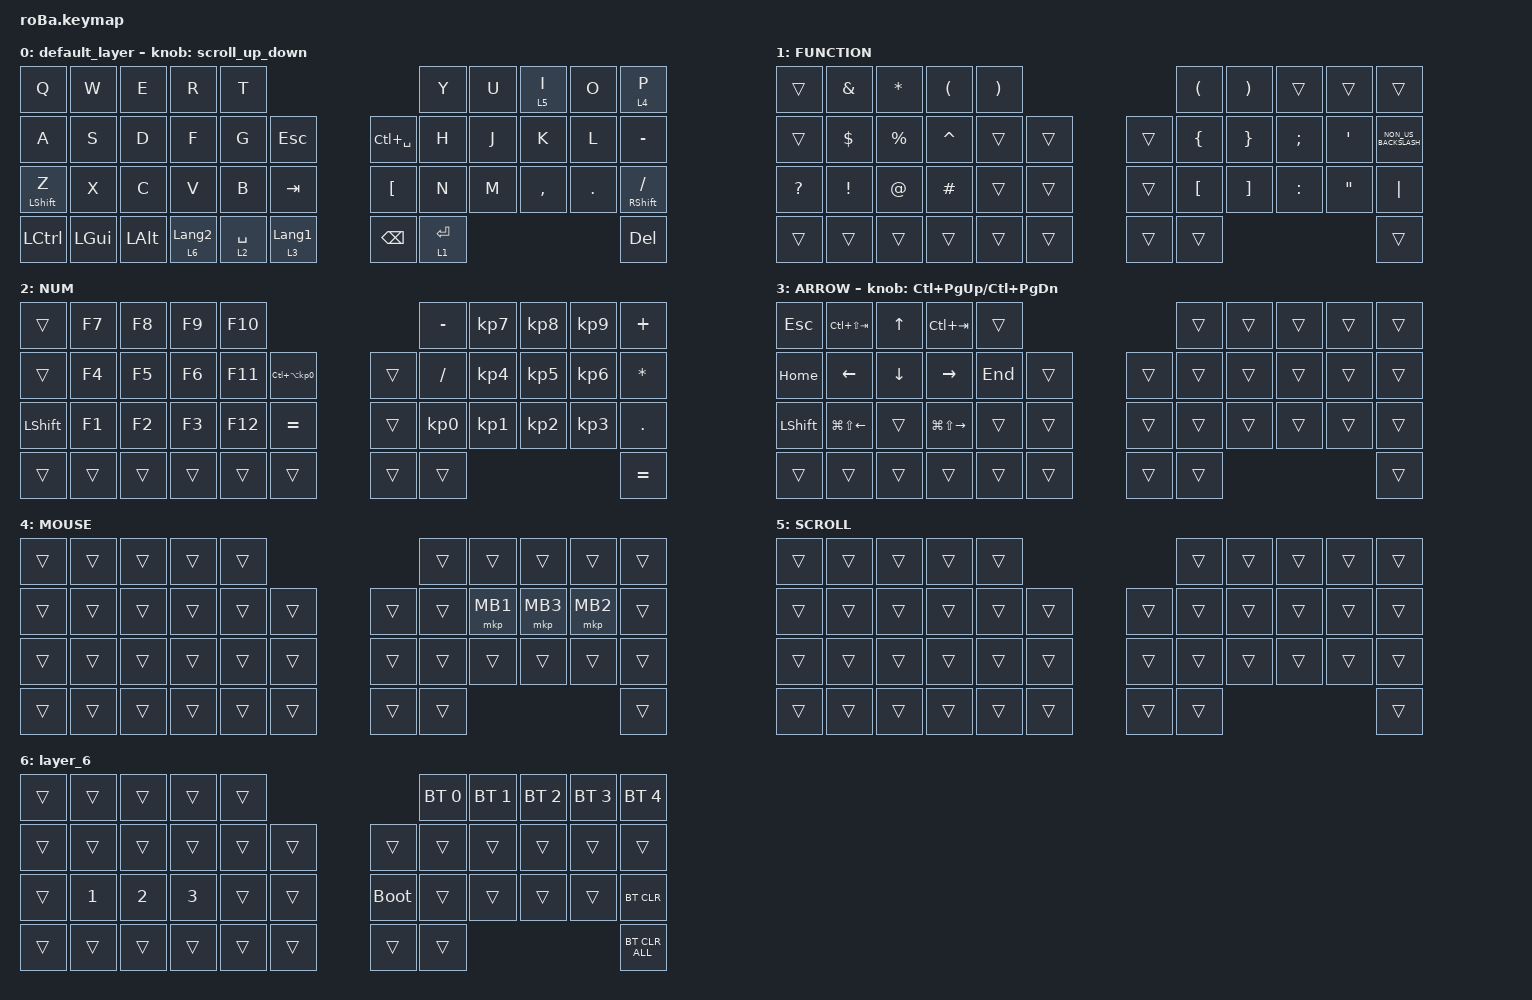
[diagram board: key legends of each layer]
#include <behaviors.dtsi>
#include <dt-bindings/zmk/bt.h>
#include <dt-bindings/zmk/keys.h>
#include <dt-bindings/zmk/pointing.h>

#define ZMK_POINTING_DEFAULT_SCRL_VAL 100
#define MOUSE 4
#define SCROLL 5
#define NUM 6

&mt {
    flavor = "balanced";
    quick-tap-ms = <0>;
};

&trackball {
    automouse-layer = <4>;
    scroll-layers = <5>;

    // arrows {
    //     layers = <3>;
    //     bindings =
    //         <&kp RIGHT_ARROW>,
    //         <&kp LEFT_ARROW>,
    //         <&kp UP_ARROW>,
    //         <&kp DOWN_ARROW>;
    //     tick = <10>;
    //     wait-ms = <5>;
    //     tap-ms = <5>;
    // };
};

/ {
    combos {
        compatible = "zmk,combos";

        tab {
            bindings = <&kp TAB>;
            key-positions = <11 12>;
        };

        shift_tab {
            bindings = <&kp LS(TAB)>;
            key-positions = <12 13>;
        };

        muhennkann {
            bindings = <&to_layer_0 INT_MUHENKAN>;
            key-positions = <11 10>;
        };

        double_quotation {
            bindings = <&kp DOUBLE_QUOTES>;
            key-positions = <20 21>;
        };

        eq {
            bindings = <&kp EQUAL>;
            key-positions = <24 25>;
        };
    };

    macros {
        to_layer_0: to_layer_0 {
            compatible = "zmk,behavior-macro-one-param";
            #binding-cells = <1>;
            bindings = <&to 0 &macro_param_1to1 &kp MACRO_PLACEHOLDER>;
            label = "TO_LAYER_0";
        };
    };

    behaviors {
        lt_to_layer_0: lt_to_layer_0 {
            compatible = "zmk,behavior-hold-tap";
            label = "LAYER_TAP_TO_0";
            bindings = <&mo>, <&to_layer_0>;

            #binding-cells = <2>;
            tapping-term-ms = <200>;
        };

        scroll_up_down: behavior_sensor_rotate_mouse_wheel_up_down {
            compatible = "zmk,behavior-sensor-rotate";
            #sensor-binding-cells = <0>;
            bindings = <&msc SCRL_DOWN>, <&msc SCRL_UP>;

            // 追加: スクロールのタップ時間を設定 (20ms)

            tap-ms = <20>;
        };
    };

    keymap {
        compatible = "zmk,keymap";

        default_layer {
            bindings = <
&kp Q             &kp W         &kp E         &kp R                        &kp T                                                           &kp Y        &kp U  &lt 5 I    &kp O    &lt 4 P
&kp A             &kp S         &kp D         &kp F                        &kp G        &kp ESCAPE                       &kp LC(SPACE)     &kp H        &kp J  &kp K      &kp L    &kp MINUS
&mt LEFT_SHIFT Z  &kp X         &kp C         &kp V                        &kp B        &kp TAB                          &kp LEFT_BRACKET  &kp N        &kp M  &kp COMMA  &kp DOT  &mt RIGHT_SHIFT SLASH
&kp LEFT_CONTROL  &kp LEFT_GUI  &kp LEFT_ALT  &lt_to_layer_0 6 LANGUAGE_2  &lt 2 SPACE  &lt_to_layer_0 3 LANGUAGE_1      &kp BACKSPACE     &lt 1 ENTER                             &kp DEL
            >;

            sensor-bindings = <&scroll_up_down>;
        };

        FUNCTION {
            bindings = <
&trans        &kp AMPERSAND    &kp ASTERISK  &kp LEFT_PARENTHESIS  &kp RIGHT_PARENTHESIS                      &kp LEFT_PARENTHESIS  &kp RIGHT_PARENTHESIS  &trans         &trans             &trans
&trans        &kp DOLLAR       &kp PERCENT   &kp CARET             &trans                 &trans      &trans  &kp LEFT_BRACE        &kp RIGHT_BRACE        &kp SEMICOLON  &kp SQT            &kp NON_US_BACKSLASH
&kp QUESTION  &kp EXCLAMATION  &kp AT_SIGN   &kp HASH              &trans                 &trans      &trans  &kp LEFT_BRACKET      &kp RIGHT_BRACKET      &kp COLON      &kp DOUBLE_QUOTES  &kp PIPE
&trans        &trans           &trans        &trans                &trans                 &trans      &trans  &trans                                                                         &trans
            >;
        };

        NUM {
            bindings = <
&trans          &kp F7  &kp F8  &kp F9  &kp F10                                       &kp MINUS        &kp KP_NUMBER_7  &kp KP_NUMBER_8  &kp KP_NUMBER_9  &kp PLUS
&trans          &kp F4  &kp F5  &kp F6  &kp F11  &kp LC(LA(KP_NUMBER_0))      &trans  &kp SLASH        &kp KP_NUMBER_4  &kp KP_NUMBER_5  &kp KP_NUMBER_6  &kp ASTERISK
&kp LEFT_SHIFT  &kp F1  &kp F2  &kp F3  &kp F12  &kp EQUAL                    &trans  &kp KP_NUMBER_0  &kp KP_NUMBER_1  &kp KP_NUMBER_2  &kp KP_NUMBER_3  &kp PERIOD
&trans          &trans  &trans  &trans  &trans   &trans                       &trans  &trans                                                              &kp EQUAL
            >;
        };

        ARROW {
            bindings = <
&kp ESCAPE      &kp LC(LS(TAB))         &kp UP_ARROW    &kp LC(TAB)              &trans                       &trans  &trans  &trans  &trans  &trans
&kp HOME        &kp LEFT_ARROW          &kp DOWN_ARROW  &kp RIGHT_ARROW          &kp END  &trans      &trans  &trans  &trans  &trans  &trans  &trans
&kp LEFT_SHIFT  &kp LG(LS(LEFT_ARROW))  &trans          &kp LG(LS(RIGHT_ARROW))  &trans   &trans      &trans  &trans  &trans  &trans  &trans  &trans
&trans          &trans                  &trans          &trans                   &trans   &trans      &trans  &trans                          &trans
            >;

            sensor-bindings = <&inc_dec_kp LC(PAGE_UP) LC(PAGE_DOWN)>;
        };

        MOUSE {
            bindings = <
&trans  &trans  &trans  &trans  &trans                      &trans  &trans    &trans    &trans    &trans
&trans  &trans  &trans  &trans  &trans  &trans      &trans  &trans  &mkp MB1  &mkp MB3  &mkp MB2  &trans
&trans  &trans  &trans  &trans  &trans  &trans      &trans  &trans  &trans    &trans    &trans    &trans
&trans  &trans  &trans  &trans  &trans  &trans      &trans  &trans                                &trans
            >;
        };

        SCROLL {
            bindings = <
&trans  &trans  &trans  &trans  &trans                      &trans  &trans  &trans  &trans  &trans
&trans  &trans  &trans  &trans  &trans  &trans      &trans  &trans  &trans  &trans  &trans  &trans
&trans  &trans  &trans  &trans  &trans  &trans      &trans  &trans  &trans  &trans  &trans  &trans
&trans  &trans  &trans  &trans  &trans  &trans      &trans  &trans                          &trans
            >;
        };

        layer_6 {
            bindings = <
&trans  &trans        &trans        &trans        &trans                           &bt BT_SEL 0  &bt BT_SEL 1  &bt BT_SEL 2  &bt BT_SEL 3  &bt BT_SEL 4
&trans  &trans        &trans        &trans        &trans  &trans      &trans       &trans        &trans        &trans        &trans        &trans
&trans  &kp NUMBER_1  &kp NUMBER_2  &kp NUMBER_3  &trans  &trans      &bootloader  &trans        &trans        &trans        &trans        &bt BT_CLR
&trans  &trans        &trans        &trans        &trans  &trans      &trans       &trans                                                  &bt BT_CLR_ALL
            >;
        };
    };
};
